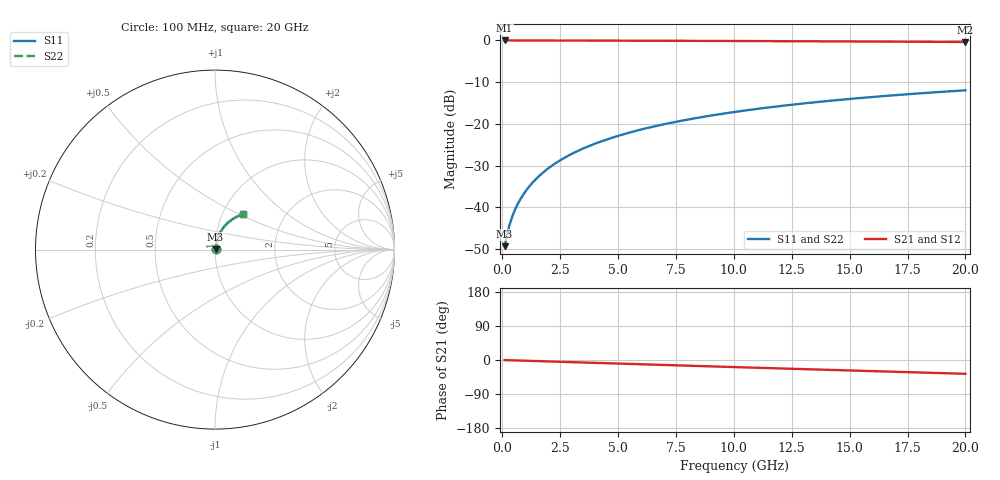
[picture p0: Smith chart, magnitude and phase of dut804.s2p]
! Touchstone file exported from HFSS 2026.1.0
!  File:  C:/ffzhzh/LocalFiles/Ansys_Project_Files/temp_train_BSMRDL_804_1783169788_43440.aedt
!  Generated:  08:57:39 PM Jul  4, 2026
!  Design:  BSMRDL
!  Project:  temp_train_BSMRDL_804_1783169788_43440
! Variables:
!  h_bsmrdl = 2.99um
!  h_ox = 20um
!  h_rdl = 5um
!  h_sub = 80um
!  h_tmrdl = 5um
!  h_tsv = 80um
!  h_via = 3um
!  l_bsmrdl = 569.26um
!  l_sub = 969.26um
!  l_tmrdl = 200um
!  m_sub = 200um
!  pitch = 40.64um
!  r_tsv = 6um
!  s_tmrdl = 10um
!  w_bsmrdl = 25.17um
!  w_sub = 500um
!  w_tmrdl = 12um
!  x_tsv_center1 = 206um
!  x_tsv_center2 = 800.43um
!  x_tsv_center3 = 1012.43um
!  x_tsv_center4 = 1606.86um
!  x_tsv_center5 = 1818.86um
!  x_tsv_center6 = 2413.29um
# GHz S MA R 50.000000
! Terminal data exported
! Port[1] = BSM_RDL1_1_T1
! Port[2] = BSM_RDL1_1_T2
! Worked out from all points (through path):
!   200 points, 100 MHz to 20 GHz, reference 50 ohm
!   highest |S21| = -0.03 dB at 100 MHz (marker M1); lowest = -0.4 dB at 20 GHz (marker M2)
!   group delay of S21, straight-line fit = 5.05 ps
!   lowest |S11| = -49.3 dB at 100 MHz (marker M3), VSWR 1.01, Z = 50.3 + j0.175 ohm
!   |S11| at or under -10 dB: start of sweep to end of sweep
!   |S22| runs from -49.3 to -12.0 dB; largest |S21 - S12| = 3.1e-15
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0.1  0.003436 30.4  0.997 -0.2  0.997 -0.2  0.003436 30.4
! Gamma 0 0 0 0
! Port Impedance 50 0 50 0
0.2  0.004637 47.1  0.9969 -0.4  0.9969 -0.4  0.004637 47.1
0.3  0.005998 55.6  0.9967 -0.6  0.9967 -0.6  0.005998 55.6
0.4  0.007368 60.7  0.9965 -0.8  0.9965 -0.8  0.007368 60.7
0.5  0.008725 64.1  0.9963 -1.0  0.9963 -1.0  0.008724 64.1
0.6  0.01008 66.7  0.9962 -1.2  0.9962 -1.2  0.01008 66.7
0.8  0.01279 70.4  0.996 -1.6  0.996 -1.6  0.01279 70.4
1.1  0.01691 73.8  0.9958 -2.1  0.9958 -2.1  0.01691 73.8
1.3  0.0197 75.3  0.9956 -2.5  0.9956 -2.5  0.0197 75.3
1.6  0.02391 76.7  0.9955 -3.1  0.9955 -3.1  0.02391 76.7
2.1  0.03098 77.8  0.9951 -4.0  0.9951 -4.0  0.03098 77.8
2.7  0.0395 78.2  0.9946 -5.1  0.9946 -5.1  0.0395 78.2
3.5  0.05084 77.8  0.9938 -6.6  0.9938 -6.6  0.05084 77.8
4.2  0.06069 77.2  0.993 -8.0  0.993 -8.0  0.06069 77.2
5  0.07186 76.1  0.9919 -9.5  0.9919 -9.5  0.07186 76.1
5.9  0.08427 74.8  0.9905 -11.1  0.9905 -11.1  0.08427 74.8
6.8  0.09651 73.4  0.9889 -12.8  0.9889 -12.8  0.09651 73.4
8.3  0.1165 70.9  0.986 -15.6  0.986 -15.6  0.1165 70.9
10.1  0.1397 67.9  0.9822 -18.9  0.9822 -18.9  0.1397 67.9
13.4  0.1802 62.2  0.9742 -24.8  0.9742 -24.8  0.1802 62.2
16.7  0.2178 56.6  0.9655 -30.6  0.9655 -30.6  0.2178 56.6
20  0.2523 51.1  0.9563 -36.4  0.9563 -36.4  0.2523 51.1
